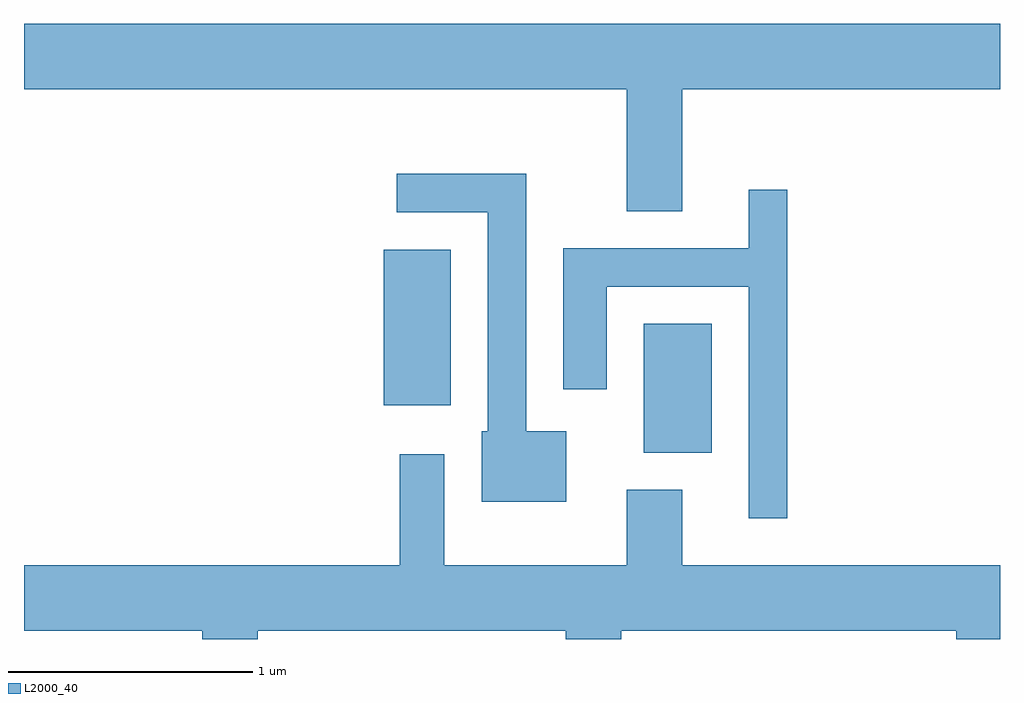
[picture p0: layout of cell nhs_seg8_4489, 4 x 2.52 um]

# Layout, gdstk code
import gdstk
lib = gdstk.Library(unit=1e-6, precision=1e-09)
def R(c, l, rs):  # rectangles x0, y0, x1, y1
    for r in rs: c.add(gdstk.rectangle(r[:2], r[2:], *l))
def P(c, l, *ps):  # polygons
    for p in ps: c.add(gdstk.Polygon(p, *l))
L2000_40 = (2000, 40)

nhs_seg8_4489 = lib.new_cell('nhs_seg8_4489')
R(nhs_seg8_4489, L2000_40, [(322.151,1877.106,322.429,1877.634), (321.086,1877.301,321.359,1877.939)])
P(nhs_seg8_4489, L2000_40, [(322.309,1878.596),(323.611,1878.596),(323.611,1878.864),(319.611,1878.864),(319.611,1878.596),(322.081,1878.596),(322.081,1878.096),(322.309,1878.096)],
  [(321.834,1877.194),(321.669,1877.194),(321.669,1878.249),(321.138,1878.249),(321.138,1878.091),(321.511,1878.091),(321.511,1877.194),(321.486,1877.194),(321.486,1876.906),(321.834,1876.906)],
  [(322.739,1878.183),(322.581,1878.183),(322.581,1877.944),(321.821,1877.944),(321.821,1877.366),(321.999,1877.366),(321.999,1877.786),(322.581,1877.786),(322.581,1876.838),(322.739,1876.838)],
  [(320.569,1876.376),(321.831,1876.376),(321.831,1876.342),(322.059,1876.342),(322.059,1876.376),(323.431,1876.376),(323.431,1876.342),(323.611,1876.342),(323.611,1876.644),(322.309,1876.644),(322.309,1876.954),(322.081,1876.954),(322.081,1876.644),(321.334,1876.644),(321.334,1877.099),(321.151,1877.099),(321.151,1876.644),(319.611,1876.644),(319.611,1876.376),(320.341,1876.376),(320.341,1876.342),(320.569,1876.342)])

lib.write_gds('nhs_seg8_4489.gds')
